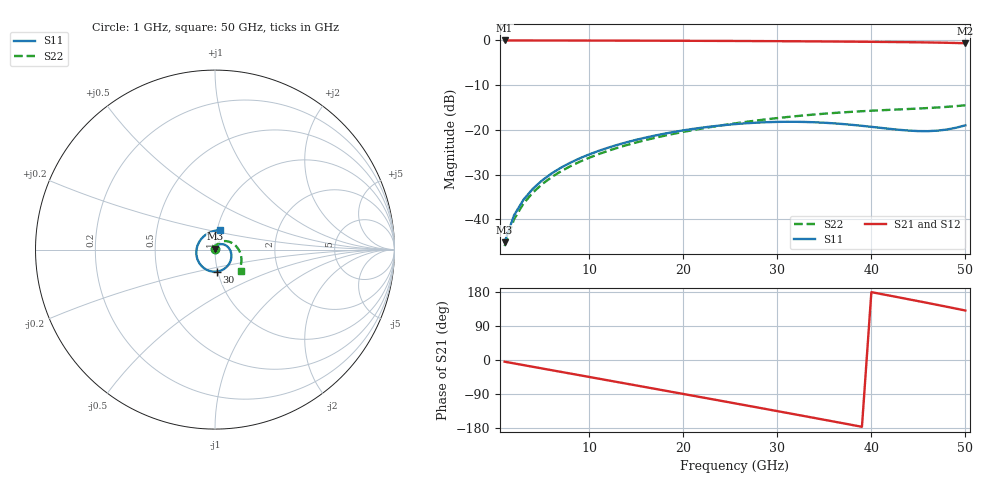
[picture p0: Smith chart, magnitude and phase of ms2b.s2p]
! Impedora 0.10.0 via model, case ms2b (fullwave/cases.json), 2026-11-19
! As ms2 with a 0.85 mm antipad: 0.2 mm of trace over the plane opening: with its pads and traces, ports at the far end of each trace, after the 3D port calibration.
! Ports: 1 = upper end, 2 = lower end, 50 ohm.
! Compared with the edge 3D mesh.
# Hz S RI R 50
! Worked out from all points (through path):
!   50 points, 1 GHz to 50 GHz, reference 50 ohm
!   highest |S21| = 0.00 dB at 1 GHz (marker M1); lowest = -0.6 dB at 50 GHz (marker M2)
!   group delay of S21, straight-line fit = 12.7 ps
!   lowest |S11| = -45.1 dB at 1 GHz (marker M3), VSWR 1.01, Z = 50.1 + j0.553 ohm
!   |S11| at or under -10 dB: start of sweep to end of sweep
!   |S22| runs from -46.0 to -14.5 dB; largest |S21 - S12| = 1.5
!   S11 on the Smith chart (normalised r, x): 1 GHz: 1.00, +0.01; 30 GHz: 0.99, -0.25; 50 GHz: 1.04, +0.23
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1e9  0.000561 0.00553  0.9969 -0.0781  0.9992 -0.0395  0.000309 0.00501
2e9  0.00222 0.0109  0.9876 -0.1557  0.9967 -0.0788  0.00123 0.00994
3e9  0.00491 0.0158  0.9723 -0.2323  0.9927 -0.118  0.00272 0.0147
4e9  0.00854 0.0202  0.951 -0.3073  0.987 -0.157  0.00477 0.0193
5e9  0.013 0.024  0.9238 -0.3805  0.9799 -0.1957  0.00734 0.0237
7e9  0.0241 0.0292  0.8529 -0.5192  0.9609 -0.272  0.0139 0.0316
1e10  0.0442 0.0298  0.7082 -0.7021  0.9212 -0.383  0.0269 0.0408
1.4e10  0.0713 0.0149  0.4571 -0.8842  0.8481 -0.5223  0.0487 0.0471
1.8e10  0.0892 -0.017  0.1619 -0.9796  0.7533 -0.6485  0.0733 0.0453
2e10  0.0914 -0.0376  0.00675 -0.9915  0.6983 -0.7056  0.0857 0.0412
2.2e10  0.0877 -0.0596  -0.1484 -0.9787  0.6387 -0.758  0.0976 0.0351
2.6e10  0.061 -0.1001  -0.4431 -0.881  0.5068 -0.8476  0.1191 0.0172
3e10  0.0115 -0.1224  -0.6926 -0.6955  0.3609 -0.9141  0.1354 -0.0067
3.4e10  -0.0471 -0.1122  -0.8708 -0.4403  0.2048 -0.9548  0.1449 -0.0342
3.6e10  -0.0729 -0.0934  -0.9269 -0.2943  0.1244 -0.965  0.1469 -0.0482
3.8e10  -0.0924 -0.0665  -0.9587 -0.1409  0.043 -0.9682  0.1471 -0.0617
4e10  -0.103 -0.0336  -0.9651 0.0163  -0.039 -0.9645  0.146 -0.0743
4.2e10  -0.1026 0.00296  -0.9453 0.1732  -0.1214 -0.9533  0.1442 -0.0856
4.4e10  -0.0898 0.0399  -0.899 0.3256  -0.2037 -0.9343  0.1423 -0.0955
4.6e10  -0.0632 0.0734  -0.8262 0.4689  -0.2854 -0.9066  0.1413 -0.1042
4.8e10  -0.0229 0.0983  -0.7279 0.5979  -0.3656 -0.8694  0.142 -0.1122
5e10  0.0296 0.1086  -0.6058 0.707  -0.4427 -0.8216  0.1451 -0.1205
